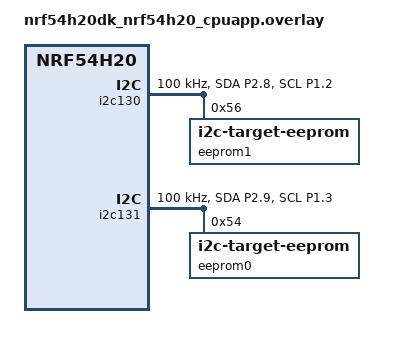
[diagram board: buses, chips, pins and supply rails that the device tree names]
/*
 * Copyright (c) 2025 Nordic Semiconductor ASA
 *
 * SPDX-License-Identifier: Apache-2.0
 */

/*
 * SDA = P2.8 and P2.9
 * SCL = P1.2 and P1.3
 */

&pinctrl {
	i2c130_default: i2c130_default {
		group1 {
			psels = <NRF_PSEL(TWIM_SDA, 2, 8)>,
				<NRF_PSEL(TWIM_SCL, 1, 2)>;
			bias-pull-up;
		};
	};

	i2c130_sleep: i2c130_sleep {
		group1 {
			psels = <NRF_PSEL(TWIM_SDA, 2, 8)>,
				<NRF_PSEL(TWIM_SCL, 1, 2)>;
			low-power-enable;
		};
	};

	i2c131_default: i2c131_default {
		group1 {
			psels = <NRF_PSEL(TWIM_SDA, 2, 9)>,
				<NRF_PSEL(TWIM_SCL, 1, 3)>;
			bias-pull-up;
		};
	};

	i2c131_sleep: i2c131_sleep {
		group1 {
			psels = <NRF_PSEL(TWIM_SDA, 2, 9)>,
				<NRF_PSEL(TWIM_SCL, 1, 3)>;
			low-power-enable;
		};
	};
};

&i2c130 {
	clock-frequency = <I2C_BITRATE_STANDARD>;
	pinctrl-0 = <&i2c130_default>;
	pinctrl-1 = <&i2c130_sleep>;
	pinctrl-names = "default", "sleep";
	zephyr,concat-buf-size = <256>;
	memory-regions = <&cpuapp_dma_region>;
	status = "okay";

	eeprom1: eeprom@56 {
		compatible = "zephyr,i2c-target-eeprom";
		reg = <0x56>;
		address-width = <8>;
		size = <256>;
	};
};

&i2c131 {
	compatible = "nordic,nrf-twis";
	clock-frequency = <I2C_BITRATE_STANDARD>;
	pinctrl-0 = <&i2c131_default>;
	pinctrl-1 = <&i2c131_sleep>;
	pinctrl-names = "default", "sleep";
	memory-regions = <&cpuapp_dma_region>;
	status = "okay";

	eeprom0: eeprom@54 {
		compatible = "zephyr,i2c-target-eeprom";
		reg = <0x54>;
		address-width = <8>;
		size = <256>;
	};
};
